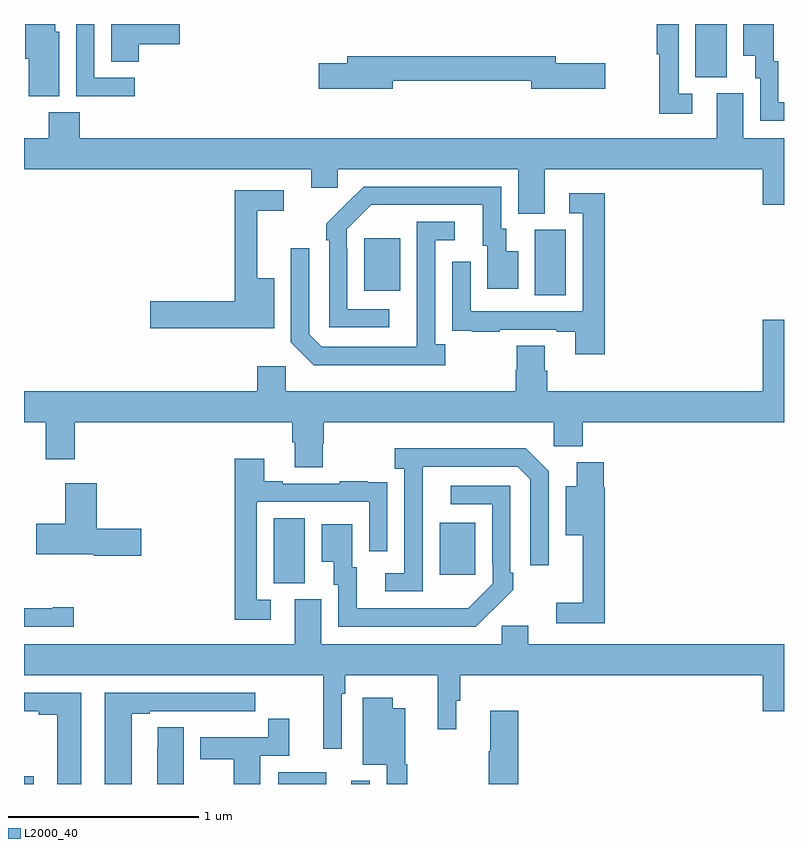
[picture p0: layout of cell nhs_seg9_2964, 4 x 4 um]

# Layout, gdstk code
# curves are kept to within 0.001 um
import gdstk
lib = gdstk.Library(unit=1e-6, precision=1e-09)
def R(c, l, rs):  # rectangles x0, y0, x1, y1
    for r in rs: c.add(gdstk.rectangle(r[:2], r[2:], *l))
def P(c, l, *ps):  # polygons
    for p in ps: c.add(gdstk.Polygon(p, *l))
L2000_40 = (2000, 40)

nhs_seg9_2964 = lib.new_cell('nhs_seg9_2964')
R(nhs_seg9_2964, L2000_40, [(281,1210.5,281.05,1210.54), (282.338,1210.5,282.592,1210.561), (282.722,1210.5,282.819,1210.516), (282.314,1211.557,282.478,1211.9), (283.187,1211.601,283.375,1211.875), (283.688,1213.072,283.852,1213.416), (282.791,1213.097,282.979,1213.372), (284.534,1214.221,284.698,1214.5)])
P(nhs_seg9_2964, L2000_40, [(281.603,1214.393),(281.821,1214.393),(281.821,1214.5),(281.459,1214.5),(281.459,1214.302),(281.603,1214.302)],
  [(284.518,1214.133),(284.445,1214.133),(284.445,1214.5),(284.329,1214.5),(284.329,1214.34),(284.344,1214.34),(284.344,1214.028),(284.518,1214.028)],
  [(281.584,1214.217),(281.37,1214.217),(281.37,1214.5),(281.274,1214.5),(281.274,1214.121),(281.584,1214.121)],
  [(285,1214.088),(284.971,1214.088),(284.971,1214.304),(284.947,1214.304),(284.947,1214.5),(284.786,1214.5),(284.786,1214.333),(284.849,1214.333),(284.849,1214.214),(284.874,1214.214),(284.874,1213.992),(285,1213.992)],
  [(281.185,1214.46),(281.164,1214.46),(281.164,1214.5),(281.006,1214.5),(281.006,1214.316),(281.024,1214.316),(281.024,1214.121),(281.185,1214.121)],
  [(282.94,1214.202),(283.67,1214.202),(283.67,1214.159),(284.059,1214.159),(284.059,1214.294),(283.798,1214.294),(283.798,1214.33),(282.701,1214.33),(282.701,1214.294),(282.552,1214.294),(282.552,1214.159),(282.94,1214.159)],
  [(282.512,1213.638),(282.651,1213.638),(282.651,1213.736),(283.601,1213.736),(283.601,1213.501),(283.741,1213.501),(283.741,1213.736),(284.888,1213.736),(284.888,1213.548),(285,1213.548),(285,1213.9),(284.785,1213.9),(284.785,1214.136),(284.645,1214.136),(284.645,1213.9),(281.294,1213.9),(281.294,1214.035),(281.129,1214.035),(281.129,1213.9),(281,1213.9),(281,1213.736),(282.512,1213.736)],
  [(282.922,1212.999),(282.702,1212.999),(282.702,1213.319),(282.699,1213.319),(282.699,1213.419),(282.828,1213.548),(283.415,1213.548),(283.415,1213.332),(283.439,1213.332),(283.439,1213.107),(283.6,1213.107),(283.6,1213.303),(283.537,1213.303),(283.537,1213.422),(283.512,1213.422),(283.512,1213.644),(282.788,1213.644),(282.591,1213.449),(282.591,1213.361),(282.606,1213.361),(282.606,1212.903),(282.922,1212.903)],
  [(282.316,1213.162),(282.227,1213.162),(282.227,1213.518),(282.367,1213.518),(282.367,1213.626),(282.109,1213.626),(282.109,1213.04),(281.664,1213.04),(281.664,1212.898),(282.316,1212.898)],
  [(284.057,1213.609),(283.869,1213.609),(283.869,1213.503),(283.941,1213.503),(283.941,1212.987),(283.35,1212.987),(283.35,1213.249),(283.254,1213.249),(283.254,1212.994),(283.255,1212.994),(283.255,1212.885),(283.357,1212.885),(283.357,1212.879),(283.505,1212.879),(283.505,1212.891),(283.805,1212.891),(283.805,1212.879),(283.901,1212.879),(283.901,1212.762),(284.057,1212.762)],
  [(283.216,1212.814),(283.164,1212.814),(283.164,1213.362),(283.267,1213.362),(283.267,1213.458),(283.068,1213.458),(283.067,1212.801),(282.567,1212.801),(282.501,1212.867),(282.501,1213.321),(282.405,1213.321),(282.405,1212.825),(282.526,1212.704),(283.216,1212.704)],
  [(282.573,1212.291),(282.578,1212.291),(282.578,1212.404),(283.788,1212.404),(283.788,1212.278),(283.94,1212.278),(283.94,1212.404),(285,1212.404),(285,1212.943),(284.888,1212.943),(284.888,1212.568),(283.754,1212.568),(283.754,1212.674),(283.741,1212.674),(283.741,1212.806),(283.594,1212.806),(283.594,1212.681),(283.589,1212.681),(283.589,1212.568),(282.378,1212.568),(282.378,1212.7),(282.227,1212.7),(282.227,1212.568),(281,1212.568),(281,1212.404),(281.114,1212.404),(281.114,1212.21),(281.267,1212.21),(281.267,1212.404),(282.413,1212.404),(282.413,1212.298),(282.425,1212.298),(282.425,1212.166),(282.573,1212.166)],
  [(283.098,1211.971),(283.099,1212.171),(283.599,1212.171),(283.665,1212.105),(283.665,1211.652),(283.761,1211.652),(283.761,1212.147),(283.64,1212.268),(282.951,1212.268),(282.951,1212.158),(283.002,1212.158),(283.002,1211.61),(282.9,1211.61),(282.9,1211.514),(283.098,1211.514)],
  [(282.298,1211.469),(282.225,1211.469),(282.225,1211.985),(282.816,1211.985),(282.816,1211.724),(282.912,1211.724),(282.912,1211.978),(282.911,1211.978),(282.911,1212.087),(282.809,1212.087),(282.809,1212.094),(282.661,1212.094),(282.661,1212.081),(282.361,1212.081),(282.361,1212.094),(282.265,1212.094),(282.265,1212.211),(282.109,1212.211),(282.109,1211.364),(282.298,1211.364)],
  [(284.057,1212.063),(284.051,1212.063),(284.051,1212.193),(283.91,1212.193),(283.91,1212.067),(283.85,1212.067),(283.85,1211.81),(283.94,1211.81),(283.94,1211.455),(283.8,1211.455),(283.8,1211.346),(284.057,1211.346)],
  [(281.617,1211.843),(281.384,1211.843),(281.384,1212.082),(281.216,1212.082),(281.216,1211.871),(281.064,1211.871),(281.064,1211.708),(281.367,1211.708),(281.367,1211.701),(281.617,1211.701)],
  [(283.469,1211.419),(283.47,1211.418),(283.575,1211.523),(283.575,1211.611),(283.56,1211.611),(283.56,1212.069),(283.245,1212.069),(283.245,1211.973),(283.464,1211.973),(283.464,1211.653),(283.467,1211.653),(283.467,1211.553),(283.339,1211.425),(282.751,1211.424),(282.751,1211.64),(282.727,1211.64),(282.727,1211.866),(282.566,1211.866),(282.566,1211.669),(282.629,1211.669),(282.629,1211.55),(282.654,1211.55),(282.654,1211.328),(283.378,1211.328)],
  [(284.888,1210.884),(285,1210.884),(285,1211.236),(283.654,1211.236),(283.654,1211.334),(283.515,1211.334),(283.515,1211.236),(282.565,1211.236),(282.565,1211.472),(282.425,1211.472),(282.425,1211.236),(281,1211.236),(281,1211.072),(282.575,1211.072),(282.575,1210.686),(282.672,1210.686),(282.672,1210.976),(282.692,1210.976),(282.692,1211.072),(283.177,1211.072),(283.177,1210.788),(283.276,1210.788),(283.276,1210.938),(283.295,1210.938),(283.295,1211.072),(284.888,1211.072)],
  [(281.263,1211.429),(281.15,1211.429),(281.15,1211.424),(281,1211.424),(281,1211.328),(281.263,1211.328)],
  [(281.566,1210.869),(281.662,1210.869),(281.662,1210.884),(281.938,1210.884),(281.938,1210.883),(282.104,1210.883),(282.104,1210.884),(282.217,1210.884),(282.217,1210.98),(281.426,1210.98),(281.426,1210.5),(281.566,1210.5)],
  [(281.302,1210.98),(281,1210.98),(281,1210.884),(281.078,1210.884),(281.078,1210.864),(281.174,1210.864),(281.174,1210.5),(281.302,1210.5)],
  [(283.018,1210.605),(283.006,1210.605),(283.006,1210.9),(282.94,1210.9),(282.94,1210.954),(282.782,1210.954),(282.782,1210.601),(282.909,1210.601),(282.909,1210.5),(283.018,1210.5)],
  [(283.601,1210.885),(283.454,1210.885),(283.454,1210.672),(283.447,1210.672),(283.447,1210.5),(283.601,1210.5)],
  [(282.244,1210.65),(282.395,1210.65),(282.395,1210.843),(282.286,1210.843),(282.286,1210.746),(281.927,1210.746),(281.927,1210.63),(282.104,1210.63),(282.104,1210.5),(282.244,1210.5)],
  [(281.842,1210.799),(281.703,1210.799),(281.703,1210.691),(281.702,1210.691),(281.702,1210.5),(281.842,1210.5)])

lib.write_gds('nhs_seg9_2964.gds')
